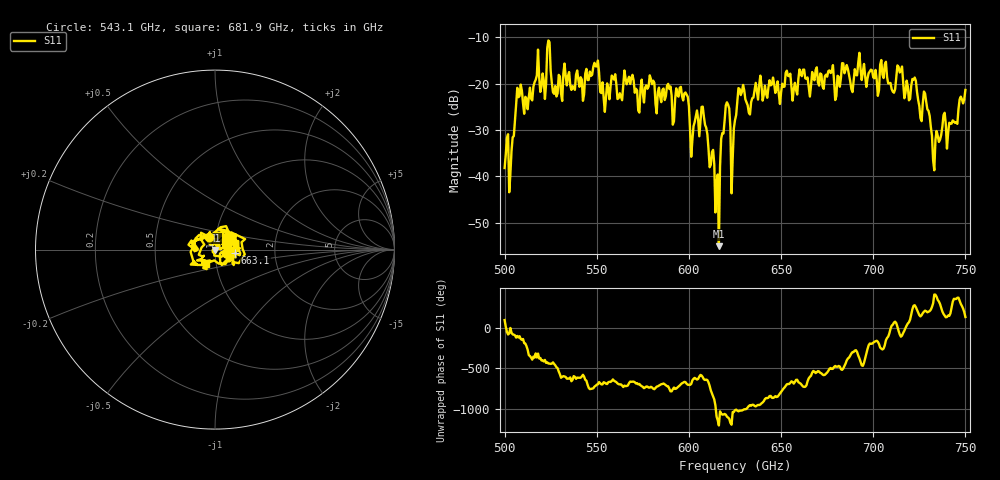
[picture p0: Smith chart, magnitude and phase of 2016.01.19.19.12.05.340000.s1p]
!Created with skrf (http://scikit-rf.org).
# GHz S RI R 50.0
!freq ReS11 ImS11
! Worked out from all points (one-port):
!   401 points, 500 GHz to 750 GHz, reference 50 ohm
!   lowest |S11| = -55.1 dB at 616.2 GHz (marker M1), VSWR 1.00, Z = 49.9 - j0.136 ohm
!   |S11| at or under -10 dB: start of sweep to end of sweep
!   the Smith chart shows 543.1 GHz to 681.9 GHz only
!   S11 on the Smith chart (normalised r, x): 543.1 GHz: 0.93, +0.13; 663.1 GHz: 1.25, -0.05; 681.9 GHz: 0.90, -0.14
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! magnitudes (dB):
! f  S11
! 500 GHz  -38.2
! 503.8 GHz  -34.5
! 508.1 GHz  -22.6
! 520.6 GHz  -17.8
! 523.8 GHz  -10.7
! 527.5 GHz  -20.5
! 531.2 GHz  -23.7
! 543.1 GHz  -22.3
! 549.4 GHz  -16.3
! 562.5 GHz  -22.1
! 593.8 GHz  -22.5
! 598.8 GHz  -22.4
! 601.9 GHz  -32.1
! 608.1 GHz  -27.1
! 615 GHz  -41.4
! 616.2 GHz  -55.1
! 620.6 GHz  -24.0
! 623.1 GHz  -43.7
! 625 GHz  -27.9
! 628.1 GHz  -22.5
! 656.2 GHz  -23.7
! 663.1 GHz  -18.8
! 681.9 GHz  -20.7
! 687.5 GHz  -19.4
! 718.8 GHz  -20.6
! 728.8 GHz  -23.9
! 733.1 GHz  -38.7
! 750 GHz  -21.4
